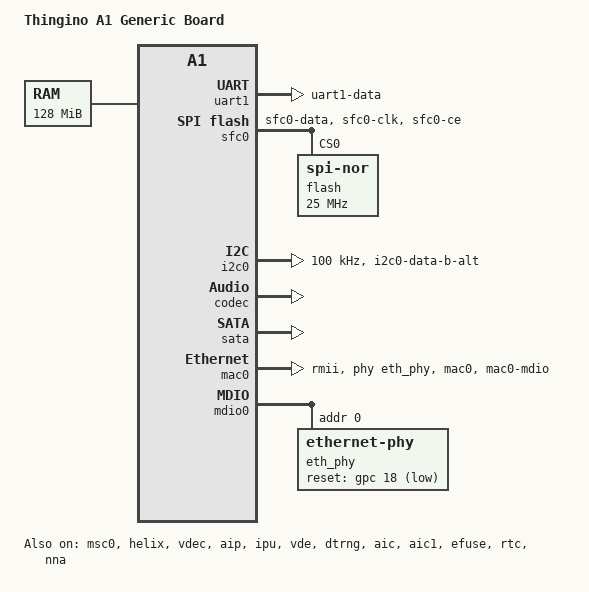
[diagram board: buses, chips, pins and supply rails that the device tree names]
// SPDX-License-Identifier: GPL-2.0
/dts-v1/;

#include <dt-bindings/gpio/gpio.h>

#include "a1.dtsi"

/ {
	compatible = "thingino,a1", "ingenic,a1";
	model = "Thingino A1 Generic Board";

	aliases {
		i2c0 = &i2c0;
		serial1 = &uart1;
	};

	chosen {
		stdout-path = "serial1:115200n8";
	};

	/* the smallest RAM an A1 comes with; the boot loader's mem= has the real map */
	memory@0 {
		device_type = "memory";
		reg = <0x0 0x8000000>;
	};

	/* the media memory of the out-of-tree stack; rmem= places and enables it */
	reserved-memory {
		#address-cells = <1>;
		#size-cells = <1>;
		ranges;

		rmem: rmem@4000000 {
			reg = <0x4000000 0x4000000>;
			no-map;
			status = "disabled";
		};

		/* the NNA's memory, where nmem= puts it */
		nmem: nmem@7000000 {
			reg = <0x7000000 0x1000000>;
			no-map;
			status = "disabled";
		};

		/* the decoder MMU's 4 MiB + 4 KiB contiguous page table */
		vdec_mmu: vdec-mmu@b800000 {
			reg = <0xb800000 0x402000>;
			no-map;
		};
	};
};

&exclk {
	clock-frequency = <24000000>;
};

&uart1 {
	status = "okay";

	pinctrl-names = "default";
	pinctrl-0 = <&pins_uart1>;
};

&sfc0 {
	status = "okay";

	pinctrl-names = "default";
	pinctrl-0 = <&pins_sfc0>;

	/* partitions come from the mtdparts= the boot loader passes */
	flash@0 {
		compatible = "jedec,spi-nor";
		reg = <0>;
		spi-max-frequency = <25000000>;
	};
};

&msc0 {
	status = "okay";
	bus-width = <4>;
	max-frequency = <25000000>;
	broken-cd;
	no-1-8-v;

	pinctrl-names = "default";
	pinctrl-0 = <&pins_mmc0>;
};

&i2c0 {
	status = "okay";
	clock-frequency = <100000>;

	pinctrl-names = "default";
	pinctrl-0 = <&pins_i2c0>;
};

&helix {
	status = "okay";
};

&vdec {
	memory-region = <&vdec_mmu>;
	status = "okay";
};

&aip {
	status = "okay";
};

&ipu {
	status = "okay";
};

&vde {
	status = "okay";
};

&dtrng {
	status = "okay";
};

&aic {
	status = "okay";
};

&aic1 {
	status = "okay";
};

&codec {
	status = "okay";
};

&efuse {
	status = "okay";
};

&rtc {
	status = "okay";
};

&sata {
	status = "okay";
};

&mac0 {
	status = "okay";

	phy-mode = "rmii";
	phy-handle = <&eth_phy>;

	pinctrl-names = "default";
	pinctrl-0 = <&pins_mac0>;
};

&mdio0 {
	eth_phy: ethernet-phy@0 {
		reg = <0>;

		/* a PHY the boot loader left wedged needs the pulse */
		reset-gpios = <&gpc 18 GPIO_ACTIVE_LOW>;
		reset-assert-us = <12000>;
		reset-deassert-us = <80000>;
	};
};

&nna {
	status = "okay";
};

&pinctrl {
	pins_uart1: uart1 {
		function = "uart1";
		groups = "uart1-data";
	};

	pins_sfc0: sfc0 {
		function = "sfc0";
		groups = "sfc0-data", "sfc0-clk", "sfc0-ce";
	};

	pins_mmc0: mmc0 {
		function = "mmc0";
		groups = "mmc0-1bit", "mmc0-4bit";
	};

	pins_mac0: mac0 {
		function = "mac0";
		groups = "mac0", "mac0-mdio";
	};

	pins_i2c0: i2c0 {
		function = "i2c0";
		groups = "i2c0-data-b-alt";
	};
};
